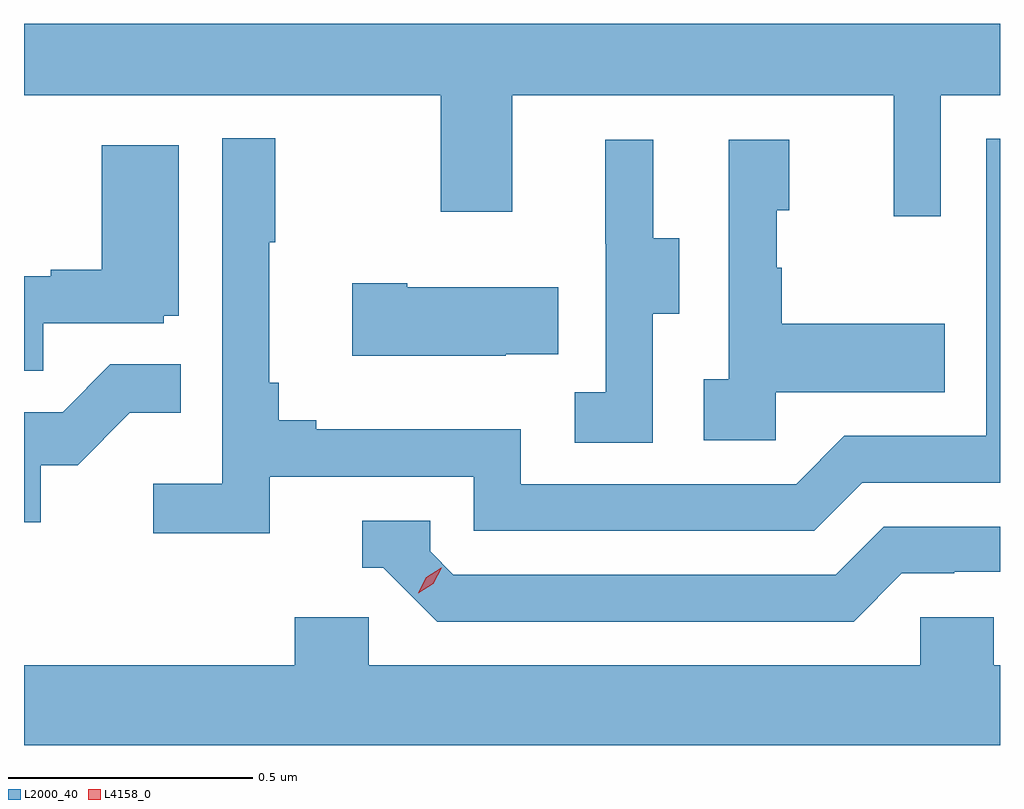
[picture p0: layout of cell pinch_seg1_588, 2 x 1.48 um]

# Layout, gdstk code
import gdstk
lib = gdstk.Library(unit=1e-6, precision=1e-09)
def P(c, l, *ps):  # polygons
    for p in ps: c.add(gdstk.Polygon(p, *l))
L2000_40 = (2000, 40)
L4158_0 = (4158, 0)

pinch_seg1_588 = lib.new_cell('pinch_seg1_588')
P(pinch_seg1_588, L2000_40, [(1068.837,518.432),(1068.958,518.432),(1068.958,518.578),(1066.958,518.578),(1066.958,518.432),(1067.812,518.432),(1067.812,518.193),(1067.959,518.193),(1067.959,518.432),(1068.74,518.432),(1068.74,518.184),(1068.837,518.184)],
  [(1067.462,517.65),(1067.88,517.65),(1067.88,517.539),(1068.577,517.539),(1068.676,517.638),(1068.958,517.638),(1068.958,518.343),(1068.93,518.343),(1068.93,517.734),(1068.639,517.734),(1068.54,517.635),(1067.976,517.635),(1067.976,517.747),(1067.557,517.747),(1067.557,517.766),(1067.48,517.766),(1067.48,517.843),(1067.461,517.843),(1067.461,518.131),(1067.473,518.131),(1067.473,518.344),(1067.364,518.344),(1067.364,517.636),(1067.223,517.636),(1067.223,517.534),(1067.462,517.534)],
  [(1068.498,517.823),(1068.845,517.823),(1068.845,517.963),(1068.511,517.963),(1068.511,518.078),(1068.501,518.078),(1068.501,518.196),(1068.526,518.196),(1068.526,518.341),(1068.402,518.341),(1068.402,517.85),(1068.351,517.85),(1068.351,517.725),(1068.498,517.725)],
  [(1068.246,517.984),(1068.301,517.984),(1068.301,518.139),(1068.247,518.139),(1068.247,518.341),(1068.149,518.341),(1068.149,518.127),(1068.15,518.127),(1068.15,517.823),(1068.087,517.823),(1068.087,517.72),(1068.246,517.72)],
  [(1066.997,517.965),(1067.244,517.965),(1067.244,517.98),(1067.275,517.98),(1067.275,518.329),(1067.117,518.329),(1067.117,518.074),(1067.013,518.074),(1067.013,518.061),(1066.958,518.061),(1066.958,517.867),(1066.997,517.867)],
  [(1067.945,517.901),(1068.053,517.901),(1068.053,518.038),(1067.743,518.038),(1067.743,518.046),(1067.631,518.046),(1067.631,517.898),(1067.945,517.898)],
  [(1066.992,517.674),(1067.068,517.674),(1067.175,517.781),(1067.279,517.781),(1067.279,517.88),(1067.135,517.88),(1067.037,517.782),(1066.958,517.782),(1066.958,517.557),(1066.992,517.557)],
  [(1068.757,517.452),(1068.864,517.452),(1068.864,517.455),(1068.958,517.455),(1068.958,517.548),(1068.72,517.548),(1068.621,517.449),(1067.838,517.449),(1067.79,517.497),(1067.79,517.56),(1067.651,517.56),(1067.651,517.464),(1067.694,517.464),(1067.805,517.353),(1068.658,517.353)],
  [(1068.958,517.264),(1068.945,517.264),(1068.945,517.362),(1068.795,517.362),(1068.795,517.264),(1067.664,517.264),(1067.664,517.362),(1067.513,517.362),(1067.513,517.264),(1066.958,517.264),(1066.958,517.1),(1068.958,517.1)])
P(pinch_seg1_588, L4158_0, [(1067.766,517.411),(1067.766,517.412),(1067.782,517.444),(1067.813,517.464),(1067.814,517.464),(1067.814,517.463),(1067.797,517.431),(1067.766,517.411)])

lib.write_gds('pinch_seg1_588.gds')
